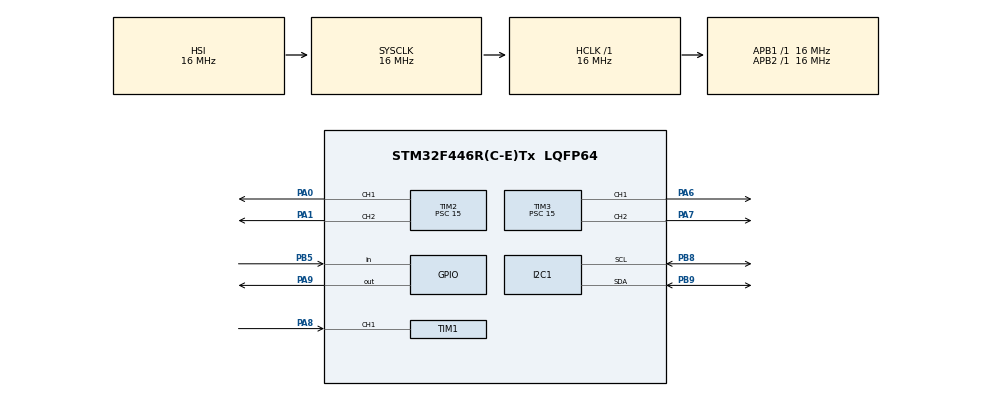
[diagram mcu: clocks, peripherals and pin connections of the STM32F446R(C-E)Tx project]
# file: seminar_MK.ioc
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I2C1.I2C_Mode=I2C_Fast
Mcu.Family=STM32F4
Mcu.Name=STM32F446R(C-E)Tx
Mcu.Package=LQFP64
NVIC.PriorityGroup=NVIC_PRIORITYGROUP_4
NVIC.TIM1_CC_IRQn=true\:0\:0\:false\:false\:true\:true\:true\:true
PA0-WKUP.Signal=S_TIM2_CH1_ETR
PA1.Signal=S_TIM2_CH2
PA13.Mode=Serial_Wire
PA13.Signal=SYS_JTMS-SWDIO
PA14.Mode=Serial_Wire
PA14.Signal=SYS_JTCK-SWCLK
PA6.Signal=S_TIM3_CH1
PA7.Signal=S_TIM3_CH2
PA8.Signal=S_TIM1_CH1
PA9.Signal=GPIO_Output
PB5.Signal=GPIO_Input
PB8.Mode=I2C
PB8.Signal=I2C1_SCL
PB9.Mode=I2C
PB9.Signal=I2C1_SDA
PH0-OSC_IN.Mode=HSE-External-Oscillator
PH0-OSC_IN.Signal=RCC_OSC_IN
PH1-OSC_OUT.Mode=HSE-External-Oscillator
PH1-OSC_OUT.Signal=RCC_OSC_OUT
ProjectManager.HeapSize=0x200
ProjectManager.StackSize=0x400
ProjectManager.TargetToolchain=STM32CubeIDE
RCC.AHBFreq_Value=16000000
RCC.APB1Freq_Value=16000000
RCC.APB1TimFreq_Value=16000000
RCC.APB2Freq_Value=16000000
RCC.APB2TimFreq_Value=16000000
RCC.CortexFreq_Value=16000000
RCC.HCLKFreq_Value=16000000
RCC.SYSCLKFreq_VALUE=16000000
RCC.USBFreq_Value=96000000
RCC.VCOOutputFreq_Value=192000000
SH.S_TIM1_CH1.0=TIM1_CH1,Input_Capture1_from_TI1
SH.S_TIM2_CH1_ETR.0=TIM2_CH1,PWM Generation1 CH1
SH.S_TIM2_CH2.0=TIM2_CH2,PWM Generation2 CH2
SH.S_TIM3_CH1.0=TIM3_CH1,PWM Generation1 CH1
SH.S_TIM3_CH2.0=TIM3_CH2,PWM Generation2 CH2
TIM1.Channel-Input_Capture1_from_TI1=TIM_CHANNEL_1
TIM1.Period=65534
TIM1.Prescaler=15
TIM2.Channel-PWM\ Generation1\ CH1=TIM_CHANNEL_1
TIM2.Channel-PWM\ Generation2\ CH2=TIM_CHANNEL_2
TIM2.Period=99
TIM2.Prescaler=15
TIM2.Pulse-PWM\ Generation2\ CH2=100
TIM3.Channel-PWM\ Generation1\ CH1=TIM_CHANNEL_1
TIM3.Channel-PWM\ Generation2\ CH2=TIM_CHANNEL_2
TIM3.Period=99
TIM3.Prescaler=15
TIM3.Pulse-PWM\ Generation2\ CH2=100
board=custom

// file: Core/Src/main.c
/* USER CODE BEGIN Header */
/**
  ******************************************************************************
  * @file           : main.c
  * @brief          : Main program body
  ******************************************************************************
  * @attention
  *
  * Copyright (c) 2025 STMicroelectronics.
  * All rights reserved.
  *
  * This software is licensed under terms that can be found in the LICENSE file
  * in the root directory of this software component.
  * If no LICENSE file comes with this software, it is provided AS-IS.
  *
  ******************************************************************************
  */
/* USER CODE END Header */
#include "main.h"
#include "i2c.h"
#include "tim.h"
#include "gpio.h"

/* USER CODE BEGIN Includes */

uint32_t IC_Vrijednost1 = 0;
uint32_t IC_Vrijednost2 = 0;
uint32_t Razlika = 0;
uint8_t Zabiljezeno = 0;
uint8_t Udaljenost  = 0;

char Udaljenost_ch[5];

const uint16_t Font11x18 [] = {
	0x0000, 0x0000, 0x0000, 0x0000, 0x0000, 0x0000, 0x0000, 0x0000, 0x0000, 0x0000, 0x0000, 0x0000, 0x0000, 0x0000, 0x0000, 0x0000, 0x0000, 0x0000,   // razmak
	0x0000, 0x0C00, 0x0C00, 0x0C00, 0x0C00, 0x0C00, 0x0C00, 0x0C00, 0x0C00, 0x0C00, 0x0C00, 0x0C00, 0x0000, 0x0C00, 0x0C00, 0x0000, 0x0000, 0x0000,   // !
	0x0000, 0x1B00, 0x1B00, 0x1B00, 0x1B00, 0x1B00, 0x0000, 0x0000, 0x0000, 0x0000, 0x0000, 0x0000, 0x0000, 0x0000, 0x0000, 0x0000, 0x0000, 0x0000,   // "
	0x0000, 0x1980, 0x1980, 0x1980, 0x1980, 0x7FC0, 0x7FC0, 0x1980, 0x3300, 0x7FC0, 0x7FC0, 0x3300, 0x3300, 0x3300, 0x3300, 0x0000, 0x0000, 0x0000,   // #
	0x0000, 0x1E00, 0x3F00, 0x7580, 0x6580, 0x7400, 0x3C00, 0x1E00, 0x0700, 0x0580, 0x6580, 0x6580, 0x7580, 0x3F00, 0x1E00, 0x0400, 0x0400, 0x0000,   // $
	0x0000, 0x7000, 0xD800, 0xD840, 0xD8C0, 0xD980, 0x7300, 0x0600, 0x0C00, 0x1B80, 0x36C0, 0x66C0, 0x46C0, 0x06C0, 0x0380, 0x0000, 0x0000, 0x0000,   // %
	0x0000, 0x1E00, 0x3F00, 0x3300, 0x3300, 0x3300, 0x1E00, 0x0C00, 0x3CC0, 0x66C0, 0x6380, 0x6180, 0x6380, 0x3EC0, 0x1C80, 0x0000, 0x0000, 0x0000,   // &
	0x0000, 0x0C00, 0x0C00, 0x0C00, 0x0C00, 0x0C00, 0x0000, 0x0000, 0x0000, 0x0000, 0x0000, 0x0000, 0x0000, 0x0000, 0x0000, 0x0000, 0x0000, 0x0000,   // '
	0x0080, 0x0100, 0x0300, 0x0600, 0x0600, 0x0400, 0x0C00, 0x0C00, 0x0C00, 0x0C00, 0x0C00, 0x0C00, 0x0400, 0x0600, 0x0600, 0x0300, 0x0100, 0x0080,   // (
	0x2000, 0x1000, 0x1800, 0x0C00, 0x0C00, 0x0400, 0x0600, 0x0600, 0x0600, 0x0600, 0x0600, 0x0600, 0x0400, 0x0C00, 0x0C00, 0x1800, 0x1000, 0x2000,   // )
	0x0000, 0x0C00, 0x2D00, 0x3F00, 0x1E00, 0x3300, 0x0000, 0x0000, 0x0000, 0x0000, 0x0000, 0x0000, 0x0000, 0x0000, 0x0000, 0x0000, 0x0000, 0x0000,   // *
	0x0000, 0x0000, 0x0000, 0x0C00, 0x0C00, 0x0C00, 0x0C00, 0xFFC0, 0xFFC0, 0x0C00, 0x0C00, 0x0C00, 0x0C00, 0x0000, 0x0000, 0x0000, 0x0000, 0x0000,   // +
	0x0000, 0x0000, 0x0000, 0x0000, 0x0000, 0x0000, 0x0000, 0x0000, 0x0000, 0x0000, 0x0000, 0x0000, 0x0000, 0x0C00, 0x0C00, 0x0400, 0x0400, 0x0800,   // ,
	0x0000, 0x0000, 0x0000, 0x0000, 0x0000, 0x0000, 0x0000, 0x0000, 0x0000, 0x1E00, 0x1E00, 0x0000, 0x0000, 0x0000, 0x0000, 0x0000, 0x0000, 0x0000,   // -
	0x0000, 0x0000, 0x0000, 0x0000, 0x0000, 0x0000, 0x0000, 0x0000, 0x0000, 0x0000, 0x0000, 0x0000, 0x0000, 0x0C00, 0x0C00, 0x0000, 0x0000, 0x0000,   // .
	0x0000, 0x0300, 0x0300, 0x0300, 0x0600, 0x0600, 0x0600, 0x0600, 0x0C00, 0x0C00, 0x0C00, 0x0C00, 0x1800, 0x1800, 0x1800, 0x0000, 0x0000, 0x0000,   // /
	0x0000, 0x1E00, 0x3F00, 0x3300, 0x6180, 0x6180, 0x6180, 0x6D80, 0x6D80, 0x6180, 0x6180, 0x6180, 0x3300, 0x3F00, 0x1E00, 0x0000, 0x0000, 0x0000,   // 0
	0x0000, 0x0600, 0x0E00, 0x1E00, 0x3600, 0x2600, 0x0600, 0x0600, 0x0600, 0x0600, 0x0600, 0x0600, 0x0600, 0x0600, 0x0600, 0x0000, 0x0000, 0x0000,   // 1
	0x0000, 0x1E00, 0x3F00, 0x7380, 0x6180, 0x6180, 0x0180, 0x0300, 0x0600, 0x0C00, 0x1800, 0x3000, 0x6000, 0x7F80, 0x7F80, 0x0000, 0x0000, 0x0000,   // 2
	0x0000, 0x1C00, 0x3E00, 0x6300, 0x6300, 0x0300, 0x0E00, 0x0E00, 0x0300, 0x0180, 0x0180, 0x6180, 0x7380, 0x3F00, 0x1E00, 0x0000, 0x0000, 0x0000,   // 3
	0x0000, 0x0600, 0x0E00, 0x0E00, 0x1E00, 0x1E00, 0x1600, 0x3600, 0x3600, 0x6600, 0x7F80, 0x7F80, 0x0600, 0x0600, 0x0600, 0x0000, 0x0000, 0x0000,   // 4
	0x0000, 0x7F00, 0x7F00, 0x6000, 0x6000, 0x6000, 0x6E00, 0x7F00, 0x6380, 0x0180, 0x0180, 0x6180, 0x7380, 0x3F00, 0x1E00, 0x0000, 0x0000, 0x0000,   // 5
	0x0000, 0x1E00, 0x3F00, 0x3380, 0x6180, 0x6000, 0x6E00, 0x7F00, 0x7380, 0x6180, 0x6180, 0x6180, 0x3380, 0x3F00, 0x1E00, 0x0000, 0x0000, 0x0000,   // 6
	0x0000, 0x7F80, 0x7F80, 0x0180, 0x0300, 0x0300, 0x0600, 0x0600, 0x0C00, 0x0C00, 0x0C00, 0x0800, 0x1800, 0x1800, 0x1800, 0x0000, 0x0000, 0x0000,   // 7
	0x0000, 0x1E00, 0x3F00, 0x6380, 0x6180, 0x6180, 0x2100, 0x1E00, 0x3F00, 0x6180, 0x6180, 0x6180, 0x6180, 0x3F00, 0x1E00, 0x0000, 0x0000, 0x0000,   // 8
	0x0000, 0x1E00, 0x3F00, 0x7300, 0x6180, 0x6180, 0x6180, 0x7380, 0x3F80, 0x1D80, 0x0180, 0x6180, 0x7300, 0x3F00, 0x1E00, 0x0000, 0x0000, 0x0000,   // 9
	0x0000, 0x0000, 0x0000, 0x0000, 0x0000, 0x0C00, 0x0C00, 0x0000, 0x0000, 0x0000, 0x0000, 0x0000, 0x0000, 0x0C00, 0x0C00, 0x0000, 0x0000, 0x0000,   // :
	0x0000, 0x0000, 0x0000, 0x0000, 0x0000, 0x0000, 0x0C00, 0x0C00, 0x0000, 0x0000, 0x0000, 0x0000, 0x0000, 0x0C00, 0x0C00, 0x0400, 0x0400, 0x0800,   // ;
	0x0000, 0x0000, 0x0000, 0x0000, 0x0080, 0x0380, 0x0E00, 0x3800, 0x6000, 0x3800, 0x0E00, 0x0380, 0x0080, 0x0000, 0x0000, 0x0000, 0x0000, 0x0000,   // <
	0x0000, 0x0000, 0x0000, 0x0000, 0x0000, 0x7F80, 0x7F80, 0x0000, 0x0000, 0x7F80, 0x7F80, 0x0000, 0x0000, 0x0000, 0x0000, 0x0000, 0x0000, 0x0000,   // =
	0x0000, 0x0000, 0x0000, 0x0000, 0x4000, 0x7000, 0x1C00, 0x0700, 0x0180, 0x0700, 0x1C00, 0x7000, 0x4000, 0x0000, 0x0000, 0x0000, 0x0000, 0x0000,   // >
	0x0000, 0x1F00, 0x3F80, 0x71C0, 0x60C0, 0x00C0, 0x01C0, 0x0380, 0x0700, 0x0E00, 0x0C00, 0x0C00, 0x0000, 0x0C00, 0x0C00, 0x0000, 0x0000, 0x0000,   // ?
	0x0000, 0x1E00, 0x3F00, 0x3180, 0x7180, 0x6380, 0x6F80, 0x6D80, 0x6D80, 0x6F80, 0x6780, 0x6000, 0x3200, 0x3E00, 0x1C00, 0x0000, 0x0000, 0x0000,   // @
	0x0000, 0x0E00, 0x0E00, 0x1B00, 0x1B00, 0x1B00, 0x1B00, 0x3180, 0x3180, 0x3F80, 0x3F80, 0x3180, 0x60C0, 0x60C0, 0x60C0, 0x0000, 0x0000, 0x0000,   // A
	0x0000, 0x7C00, 0x7E00, 0x6300, 0x6300, 0x6300, 0x6300, 0x7E00, 0x7E00, 0x6300, 0x6180, 0x6180, 0x6380, 0x7F00, 0x7E00, 0x0000, 0x0000, 0x0000,   // B
	0x0000, 0x1E00, 0x3F00, 0x3180, 0x6180, 0x6000, 0x6000, 0x6000, 0x6000, 0x6000, 0x6000, 0x6180, 0x3180, 0x3F00, 0x1E00, 0x0000, 0x0000, 0x0000,   // C
	0x0000, 0x7C00, 0x7F00, 0x6300, 0x6380, 0x6180, 0x6180, 0x6180, 0x6180, 0x6180, 0x6180, 0x6300, 0x6300, 0x7E00, 0x7C00, 0x0000, 0x0000, 0x0000,   // D
	0x0000, 0x7F80, 0x7F80, 0x6000, 0x6000, 0x6000, 0x6000, 0x7F00, 0x7F00, 0x6000, 0x6000, 0x6000, 0x6000, 0x7F80, 0x7F80, 0x0000, 0x0000, 0x0000,   // E
	0x0000, 0x7F80, 0x7F80, 0x6000, 0x6000, 0x6000, 0x6000, 0x7F00, 0x7F00, 0x6000, 0x6000, 0x6000, 0x6000, 0x6000, 0x6000, 0x0000, 0x0000, 0x0000,   // F
	0x0000, 0x1E00, 0x3F00, 0x3180, 0x6180, 0x6000, 0x6000, 0x6000, 0x6380, 0x6380, 0x6180, 0x6180, 0x3180, 0x3F80, 0x1E00, 0x0000, 0x0000, 0x0000,   // G
	0x0000, 0x6180, 0x6180, 0x6180, 0x6180, 0x6180, 0x6180, 0x7F80, 0x7F80, 0x6180, 0x6180, 0x6180, 0x6180, 0x6180, 0x6180, 0x0000, 0x0000, 0x0000,   // H
	0x0000, 0x3F00, 0x3F00, 0x0C00, 0x0C00, 0x0C00, 0x0C00, 0x0C00, 0x0C00, 0x0C00, 0x0C00, 0x0C00, 0x0C00, 0x3F00, 0x3F00, 0x0000, 0x0000, 0x0000,   // I
	0x0000, 0x0180, 0x0180, 0x0180, 0x0180, 0x0180, 0x0180, 0x0180, 0x0180, 0x0180, 0x6180, 0x6180, 0x7380, 0x3F00, 0x1E00, 0x0000, 0x0000, 0x0000,   // J
	0x0000, 0x60C0, 0x6180, 0x6300, 0x6600, 0x6600, 0x6C00, 0x7800, 0x7C00, 0x6600, 0x6600, 0x6300, 0x6180, 0x6180, 0x60C0, 0x0000, 0x0000, 0x0000,   // K
	0x0000, 0x6000, 0x6000, 0x6000, 0x6000, 0x6000, 0x6000, 0x6000, 0x6000, 0x6000, 0x6000, 0x6000, 0x6000, 0x7F80, 0x7F80, 0x0000, 0x0000, 0x0000,   // L
	0x0000, 0x71C0, 0x71C0, 0x7BC0, 0x7AC0, 0x6AC0, 0x6AC0, 0x6EC0, 0x64C0, 0x60C0, 0x60C0, 0x60C0, 0x60C0, 0x60C0, 0x60C0, 0x0000, 0x0000, 0x0000,   // M
	0x0000, 0x7180, 0x7180, 0x7980, 0x7980, 0x7980, 0x6D80, 0x6D80, 0x6D80, 0x6580, 0x6780, 0x6780, 0x6780, 0x6380, 0x6380, 0x0000, 0x0000, 0x0000,   // N
	0x0000, 0x1E00, 0x3F00, 0x3300, 0x6180, 0x6180, 0x6180, 0x6180, 0x6180, 0x6180, 0x6180, 0x6180, 0x3300, 0x3F00, 0x1E00, 0x0000, 0x0000, 0x0000,   // O
	0x0000, 0x7E00, 0x7F00, 0x6380, 0x6180, 0x6180, 0x6180, 0x6380, 0x7F00, 0x7E00, 0x6000, 0x6000, 0x6000, 0x6000, 0x6000, 0x0000, 0x0000, 0x0000,   // P
	0x0000, 0x1E00, 0x3F00, 0x3300, 0x6180, 0x6180, 0x6180, 0x6180, 0x6180, 0x6180, 0x6580, 0x6780, 0x3300, 0x3F80, 0x1E40, 0x0000, 0x0000, 0x0000,   // Q
	0x0000, 0x7E00, 0x7F00, 0x6380, 0x6180, 0x6180, 0x6380, 0x7F00, 0x7E00, 0x6600, 0x6300, 0x6300, 0x6180, 0x6180, 0x60C0, 0x0000, 0x0000, 0x0000,   // R
	0x0000, 0x0E00, 0x1F00, 0x3180, 0x3180, 0x3000, 0x3800, 0x1E00, 0x0700, 0x0380, 0x6180, 0x6180, 0x3180, 0x3F00, 0x1E00, 0x0000, 0x0000, 0x0000,   // S
	0x0000, 0xFFC0, 0xFFC0, 0x0C00, 0x0C00, 0x0C00, 0x0C00, 0x0C00, 0x0C00, 0x0C00, 0x0C00, 0x0C00, 0x0C00, 0x0C00, 0x0C00, 0x0000, 0x0000, 0x0000,   // T
	0x0000, 0x6180, 0x6180, 0x6180, 0x6180, 0x6180, 0x6180, 0x6180, 0x6180, 0x6180, 0x6180, 0x6180, 0x7380, 0x3F00, 0x1E00, 0x0000, 0x0000, 0x0000,   // U
	0x0000, 0x60C0, 0x60C0, 0x60C0, 0x3180, 0x3180, 0x3180, 0x1B00, 0x1B00, 0x1B00, 0x1B00, 0x0E00, 0x0E00, 0x0E00, 0x0400, 0x0000, 0x0000, 0x0000,   // V
	0x0000, 0xC0C0, 0xC0C0, 0xC0C0, 0xC0C0, 0xC0C0, 0xCCC0, 0x4C80, 0x4C80, 0x5E80, 0x5280, 0x5280, 0x7380, 0x6180, 0x6180, 0x0000, 0x0000, 0x0000,   // W
	0x0000, 0xC0C0, 0x6080, 0x6180, 0x3300, 0x3B00, 0x1E00, 0x0C00, 0x0C00, 0x1E00, 0x1F00, 0x3B00, 0x7180, 0x6180, 0xC0C0, 0x0000, 0x0000, 0x0000,   // X
	0x0000, 0xC0C0, 0x6180, 0x6180, 0x3300, 0x3300, 0x1E00, 0x1E00, 0x0C00, 0x0C00, 0x0C00, 0x0C00, 0x0C00, 0x0C00, 0x0C00, 0x0000, 0x0000, 0x0000,   // Y
	0x0000, 0x3F80, 0x3F80, 0x0180, 0x0300, 0x0300, 0x0600, 0x0C00, 0x0C00, 0x1800, 0x1800, 0x3000, 0x6000, 0x7F80, 0x7F80, 0x0000, 0x0000, 0x0000,   // Z
	0x0F00, 0x0F00, 0x0C00, 0x0C00, 0x0C00, 0x0C00, 0x0C00, 0x0C00, 0x0C00, 0x0C00, 0x0C00, 0x0C00, 0x0C00, 0x0C00, 0x0C00, 0x0C00, 0x0F00, 0x0F00,   // [
	0x0000, 0x1800, 0x1800, 0x1800, 0x0C00, 0x0C00, 0x0C00, 0x0C00, 0x0600, 0x0600, 0x0600, 0x0600, 0x0300, 0x0300, 0x0300, 0x0000, 0x0000, 0x0000,   /* \ */
	0x1E00, 0x1E00, 0x0600, 0x0600, 0x0600, 0x0600, 0x0600, 0x0600, 0x0600, 0x0600, 0x0600, 0x0600, 0x0600, 0x0600, 0x0600, 0x0600, 0x1E00, 0x1E00,   // ]
	0x0000, 0x0C00, 0x0C00, 0x1E00, 0x1200, 0x3300, 0x3300, 0x6180, 0x6180, 0x0000, 0x0000, 0x0000, 0x0000, 0x0000, 0x0000, 0x0000, 0x0000, 0x0000,   // ^
	0x0000, 0x0000, 0x0000, 0x0000, 0x0000, 0x0000, 0x0000, 0x0000, 0x0000, 0x0000, 0x0000, 0x0000, 0x0000, 0x0000, 0x0000, 0x0000, 0xFFE0, 0x0000,   // _
	0x0000, 0x3800, 0x1800, 0x0C00, 0x0000, 0x0000, 0x0000, 0x0000, 0x0000, 0x0000, 0x0000, 0x0000, 0x0000, 0x0000, 0x0000, 0x0000, 0x0000, 0x0000,   // `
	0x0000, 0x0000, 0x0000, 0x0000, 0x0000, 0x1F00, 0x3F80, 0x6180, 0x0180, 0x1F80, 0x3F80, 0x6180, 0x6380, 0x7F80, 0x38C0, 0x0000, 0x0000, 0x0000,   // a
	0x0000, 0x6000, 0x6000, 0x6000, 0x6000, 0x6E00, 0x7F00, 0x7380, 0x6180, 0x6180, 0x6180, 0x6180, 0x7380, 0x7F00, 0x6E00, 0x0000, 0x0000, 0x0000,   // b
	0x0000, 0x0000, 0x0000, 0x0000, 0x0000, 0x1E00, 0x3F00, 0x7380, 0x6180, 0x6000, 0x6000, 0x6180, 0x7380, 0x3F00, 0x1E00, 0x0000, 0x0000, 0x0000,   // c
	0x0000, 0x0180, 0x0180, 0x0180, 0x0180, 0x1D80, 0x3F80, 0x7380, 0x6180, 0x6180, 0x6180, 0x6180, 0x7380, 0x3F80, 0x1D80, 0x0000, 0x0000, 0x0000,   // d
	0x0000, 0x0000, 0x0000, 0x0000, 0x0000, 0x1E00, 0x3F00, 0x7300, 0x6180, 0x7F80, 0x7F80, 0x6000, 0x7180, 0x3F00, 0x1E00, 0x0000, 0x0000, 0x0000,   // e
	0x0000, 0x07C0, 0x0FC0, 0x0C00, 0x0C00, 0x7F80, 0x7F80, 0x0C00, 0x0C00, 0x0C00, 0x0C00, 0x0C00, 0x0C00, 0x0C00, 0x0C00, 0x0000, 0x0000, 0x0000,   // f
	0x0000, 0x0000, 0x0000, 0x0000, 0x1D80, 0x3F80, 0x7380, 0x6180, 0x6180, 0x6180, 0x6180, 0x7380, 0x3F80, 0x1D80, 0x0180, 0x6380, 0x7F00, 0x3E00,   // g
	0x0000, 0x6000, 0x6000, 0x6000, 0x6000, 0x6F00, 0x7F80, 0x7180, 0x6180, 0x6180, 0x6180, 0x6180, 0x6180, 0x6180, 0x6180, 0x0000, 0x0000, 0x0000,   // h
	0x0000, 0x0600, 0x0600, 0x0000, 0x0000, 0x3E00, 0x3E00, 0x0600, 0x0600, 0x0600, 0x0600, 0x0600, 0x0600, 0x0600, 0x0600, 0x0000, 0x0000, 0x0000,   // i
	0x0600, 0x0600, 0x0000, 0x0000, 0x3E00, 0x3E00, 0x0600, 0x0600, 0x0600, 0x0600, 0x0600, 0x0600, 0x0600, 0x0600, 0x0600, 0x4600, 0x7E00, 0x3C00,   // j
	0x0000, 0x6000, 0x6000, 0x6000, 0x6000, 0x6180, 0x6300, 0x6600, 0x6C00, 0x7C00, 0x7600, 0x6300, 0x6300, 0x6180, 0x60C0, 0x0000, 0x0000, 0x0000,   // k
	0x0000, 0x3E00, 0x3E00, 0x0600, 0x0600, 0x0600, 0x0600, 0x0600, 0x0600, 0x0600, 0x0600, 0x0600, 0x0600, 0x0600, 0x0600, 0x0000, 0x0000, 0x0000,   // l
	0x0000, 0x0000, 0x0000, 0x0000, 0x0000, 0xDD80, 0xFFC0, 0xCEC0, 0xCCC0, 0xCCC0, 0xCCC0, 0xCCC0, 0xCCC0, 0xCCC0, 0xCCC0, 0x0000, 0x0000, 0x0000,   // m
	0x0000, 0x0000, 0x0000, 0x0000, 0x0000, 0x6F00, 0x7F80, 0x7180, 0x6180, 0x6180, 0x6180, 0x6180, 0x6180, 0x6180, 0x6180, 0x0000, 0x0000, 0x0000,   // n
	0x0000, 0x0000, 0x0000, 0x0000, 0x0000, 0x1E00, 0x3F00, 0x7380, 0x6180, 0x6180, 0x6180, 0x6180, 0x7380, 0x3F00, 0x1E00, 0x0000, 0x0000, 0x0000,   // o
	0x0000, 0x0000, 0x0000, 0x0000, 0x6E00, 0x7F00, 0x7380, 0x6180, 0x6180, 0x6180, 0x6180, 0x7380, 0x7F00, 0x6E00, 0x6000, 0x6000, 0x6000, 0x6000,   // p
	0x0000, 0x0000, 0x0000, 0x0000, 0x1D80, 0x3F80, 0x7380, 0x6180, 0x6180, 0x6180, 0x6180, 0x7380, 0x3F80, 0x1D80, 0x0180, 0x0180, 0x0180, 0x0180,   // q
	0x0000, 0x0000, 0x0000, 0x0000, 0x0000, 0x6700, 0x3F80, 0x3900, 0x3000, 0x3000, 0x3000, 0x3000, 0x3000, 0x3000, 0x3000, 0x0000, 0x0000, 0x0000,   // r
	0x0000, 0x0000, 0x0000, 0x0000, 0x0000, 0x1E00, 0x3F80, 0x6180, 0x6000, 0x7F00, 0x3F80, 0x0180, 0x6180, 0x7F00, 0x1E00, 0x0000, 0x0000, 0x0000,   // s
	0x0000, 0x0000, 0x0800, 0x1800, 0x1800, 0x7F00, 0x7F00, 0x1800, 0x1800, 0x1800, 0x1800, 0x1800, 0x1800, 0x1F80, 0x0F80, 0x0000, 0x0000, 0x0000,   // t
	0x0000, 0x0000, 0x0000, 0x0000, 0x0000, 0x6180, 0x6180, 0x6180, 0x6180, 0x6180, 0x6180, 0x6180, 0x6380, 0x7F80, 0x3D80, 0x0000, 0x0000, 0x0000,   // u
	0x0000, 0x0000, 0x0000, 0x0000, 0x0000, 0x60C0, 0x3180, 0x3180, 0x3180, 0x1B00, 0x1B00, 0x1B00, 0x0E00, 0x0E00, 0x0600, 0x0000, 0x0000, 0x0000,   // v
	0x0000, 0x0000, 0x0000, 0x0000, 0x0000, 0xDD80, 0xDD80, 0xDD80, 0x5500, 0x5500, 0x5500, 0x7700, 0x7700, 0x2200, 0x2200, 0x0000, 0x0000, 0x0000,   // w
	0x0000, 0x0000, 0x0000, 0x0000, 0x0000, 0x6180, 0x3300, 0x3300, 0x1E00, 0x0C00, 0x0C00, 0x1E00, 0x3300, 0x3300, 0x6180, 0x0000, 0x0000, 0x0000,   // x
	0x0000, 0x0000, 0x0000, 0x0000, 0x6180, 0x6180, 0x3180, 0x3300, 0x3300, 0x1B00, 0x1B00, 0x1B00, 0x0E00, 0x0E00, 0x0E00, 0x1C00, 0x7C00, 0x7000,   // y
	0x0000, 0x0000, 0x0000, 0x0000, 0x0000, 0x7FC0, 0x7FC0, 0x0180, 0x0300, 0x0600, 0x0C00, 0x1800, 0x3000, 0x7FC0, 0x7FC0, 0x0000, 0x0000, 0x0000,   // z
	0x0380, 0x0780, 0x0600, 0x0600, 0x0600, 0x0600, 0x0600, 0x0E00, 0x1C00, 0x1C00, 0x0E00, 0x0600, 0x0600, 0x0600, 0x0600, 0x0600, 0x0780, 0x0380,   // {
	0x0600, 0x0600, 0x0600, 0x0600, 0x0600, 0x0600, 0x0600, 0x0600, 0x0600, 0x0600, 0x0600, 0x0600, 0x0600, 0x0600, 0x0600, 0x0600, 0x0600, 0x0600,   // |
	0x3800, 0x3C00, 0x0C00, 0x0C00, 0x0C00, 0x0C00, 0x0C00, 0x0E00, 0x0700, 0x0700, 0x0E00, 0x0C00, 0x0C00, 0x0C00, 0x0C00, 0x0C00, 0x3C00, 0x3800,   // }
	0x0000, 0x0000, 0x0000, 0x0000, 0x0000, 0x0000, 0x0000, 0x3880, 0x7F80, 0x4700, 0x0000, 0x0000, 0x0000, 0x0000, 0x0000, 0x0000, 0x0000, 0x0000,   // ~
};

typedef struct {
	uint8_t Font_W;    // Širina fonta
	uint8_t Font_H;   // Visina fonta
	const uint16_t *data; // Pointer data
} FontDef_t;

FontDef_t Font_11x18 = {
	11,
	18,
	Font11x18
};

typedef enum {
	OLED_CRNA = 0x00, // Crni piksel
	OLED_BIJELA = 0x01  // Piksel je postavljen
} OLED_BOJA_t;

#define OLED_W 128
#define OLED_H 64

static uint8_t OLED_Buffer[OLED_W * OLED_H / 8];

typedef struct {
	uint16_t X;
	uint16_t Y;
	uint8_t Obrnuto;
	uint8_t Inicijalizirano;
} OLED_t;

static OLED_t OLED;

#define OLED_I2C_ADDR 0x78
#define OLED_I2C &hi2c1
#define OLED_DEAKTIVIRAJ_SCROLL 0x2E
#define OLED_WRITECOMMAND(command) OLED_I2C_Ispis(OLED_I2C_ADDR, 0x00, (command))

void OLED_I2C_Init() {
	uint32_t p = 250000;
	while(p>0)
		p--;
}

void OLED_I2C_Ispis(uint8_t address, uint8_t reg, uint8_t data) {
	uint8_t dt[2];
	dt[0] = reg;
	dt[1] = data;
	HAL_I2C_Master_Transmit(OLED_I2C, address, dt, 2, 10);
}

void OLED_I2C_IspisVisestruko(uint8_t address, uint8_t reg, uint8_t* data, uint16_t count) {
	uint8_t dt[256];
	dt[0] = reg;
	uint8_t i;
	for(i = 0; i < count; i++)
	dt[i+1] = data[i];
	HAL_I2C_Master_Transmit(OLED_I2C, address, dt, count+1, 10);
}

void OLED_AzurirajZaslon(void) {
	uint8_t m;

	for (m = 0; m < 8; m++) {
		OLED_WRITECOMMAND(0xB0 + m);
		OLED_WRITECOMMAND(0x00);
		OLED_WRITECOMMAND(0x10);

		OLED_I2C_IspisVisestruko(OLED_I2C_ADDR, 0x40, &OLED_Buffer[OLED_W * m], OLED_W);
	}
}

void OLED_Popuni(OLED_BOJA_t color) {

	/* posatvi memoriju */
	memset(OLED_Buffer, (color == OLED_CRNA) ? 0x00 : 0xFF, sizeof(OLED_Buffer));
}

	/* inicijalizacija OLED */

uint8_t OLED_Init(void) {

	OLED_I2C_Init();

	if (HAL_I2C_IsDeviceReady(OLED_I2C, OLED_I2C_ADDR, 1, 20000) != HAL_OK) {
		return 0;
	}

	uint32_t p = 2500;
	while(p>0)
		p--;

	OLED_WRITECOMMAND(0xAE);
	OLED_WRITECOMMAND(0x20);
	OLED_WRITECOMMAND(0x10);
	OLED_WRITECOMMAND(0xB0);
	OLED_WRITECOMMAND(0xC8);
	OLED_WRITECOMMAND(0x00);
	OLED_WRITECOMMAND(0x10);
	OLED_WRITECOMMAND(0x40);
	OLED_WRITECOMMAND(0x81);
	OLED_WRITECOMMAND(0xFF);
	OLED_WRITECOMMAND(0xA1);
	OLED_WRITECOMMAND(0xA6);
#if (OLED_H == 128)
	OLED_WRITECOMMAND(0xFF);
#else
	OLED_WRITECOMMAND(0xA8);
#endif

#if (OLED_H == 32)
	OLED_WRITECOMMAND(0x1F);
#elif (OLED_H == 64)
	OLED_WRITECOMMAND(0x3F);
#elif (OLED_H == 128)
	OLED_WRITECOMMAND(0x3F);
#endif
	OLED_WRITECOMMAND(0xA4);
	OLED_WRITECOMMAND(0xD3);
	OLED_WRITECOMMAND(0x00);
	OLED_WRITECOMMAND(0xD5);
	OLED_WRITECOMMAND(0xF0);
	OLED_WRITECOMMAND(0xD9);
	OLED_WRITECOMMAND(0x22);

	OLED_WRITECOMMAND(0xDA);
#if (OLED_H == 32)
	OLED_WRITECOMMAND(0x02);
#elif (OLED_H == 64)
	OLED_WRITECOMMAND(0x12);
#elif (OLED_H == 128)
	OLED_WRITECOMMAND(0x12);
#endif

	OLED_WRITECOMMAND(0xDB);
	OLED_WRITECOMMAND(0x20);
	OLED_WRITECOMMAND(0x8D);
	OLED_WRITECOMMAND(0x14);
	OLED_WRITECOMMAND(0xAF);

	OLED_WRITECOMMAND(OLED_DEAKTIVIRAJ_SCROLL);

	/* Čisti ekran (crna) */
	OLED_Popuni(OLED_CRNA);

	/* Osvježi ekran */
	OLED_AzurirajZaslon();

	/* Kordinate na (0, 0) */
	OLED.X = 0;
	OLED.Y = 0;

	/* Inicijalizacija je OK */
	OLED.Inicijalizirano = 1;

	/* Vrati OK */
	return 1;
}

	/* postavljanje koordinati */

void OLED_XY(uint16_t x, uint16_t y) {
	OLED.X = x;
	OLED.Y = y;
}

void OLED_Piksel(uint16_t x, uint16_t y, OLED_BOJA_t color) {
	if (
		x >= OLED_W ||
		y >= OLED_H
	) {
		return;
	}

	if (OLED.Obrnuto) {
		color = (OLED_BOJA_t) !color;
	}

	/* Postavi boju*/
	if (color == OLED_BIJELA) {
		OLED_Buffer[x + (y / 8) * OLED_W] |= 1 << (y % 8);
	} else {
		OLED_Buffer[x + (y / 8) * OLED_W] &= ~(1 << (y % 8));
	}
}

char OLED_Character(char ch, FontDef_t* Font, OLED_BOJA_t color) {
	uint32_t i, b, j;

	/* Provjeri ima li mjesta na OLED-u */
	if (
		OLED_W <= (OLED.X + Font->Font_W) ||
		OLED_H <= (OLED.Y + Font->Font_H)
	) {
		return 0;
	}

	for (i = 0; i < Font->Font_H; i++) {
			b = Font->data[(ch - 32) * Font->Font_H + i];
			for (j = 0; j < Font->Font_W; j++) {
				if ((b << j) & 0x8000) {
					OLED_Piksel(OLED.X + j, (OLED.Y + i), (OLED_BOJA_t) color);
				} else {
					OLED_Piksel(OLED.X + j, (OLED.Y + i), (OLED_BOJA_t)!color);
				}
			}
		}

	/* Povećaj pointer */
	OLED.X += Font->Font_W;

	/* Vraća charachter koji je napisan */
	return ch;
}

	/* ispis na OLED */
char OLED_String(char* str, FontDef_t* Font, OLED_BOJA_t color) {

	while (*str) {
		if (OLED_Character(*str, Font, color) != *str) {
			return *str;
		}

		str++;
	}

	return *str;
}

/* USER CODE END Includes */

void SystemClock_Config(void);

/* USER CODE BEGIN 0 */
void HAL_TIM_IC_CaptureCallback(TIM_HandleTypeDef *htim)
{
	if (htim->Channel == HAL_TIM_ACTIVE_CHANNEL_1)
	{
		if (Zabiljezeno==0)
		{
			IC_Vrijednost1 = HAL_TIM_ReadCapturedValue(htim, TIM_CHANNEL_1);
			Zabiljezeno = 1;

			__HAL_TIM_SET_CAPTUREPOLARITY(htim, TIM_CHANNEL_1, TIM_INPUTCHANNELPOLARITY_FALLING);
		}

		else if (Zabiljezeno==1)
		{
			IC_Vrijednost2 = HAL_TIM_ReadCapturedValue(htim, TIM_CHANNEL_1);
			__HAL_TIM_SET_COUNTER(htim, 0);

			if (IC_Vrijednost2 > IC_Vrijednost1)
			{
				Razlika = IC_Vrijednost2-IC_Vrijednost1;
			}

			else if (IC_Vrijednost1 > IC_Vrijednost2)
			{
				Razlika = (0xffff - IC_Vrijednost1) + IC_Vrijednost2;
			}

			Udaljenost = Razlika * 0.034/2;
			Zabiljezeno = 0;

			__HAL_TIM_SET_CAPTUREPOLARITY(htim, TIM_CHANNEL_1, TIM_INPUTCHANNELPOLARITY_RISING);
			__HAL_TIM_DISABLE_IT(&htim1, TIM_IT_CC1);
		}
	}
}
void HCSR04 (void)
	{
		HAL_GPIO_WritePin(GPIOA, GPIO_PIN_9, GPIO_PIN_SET);
		HAL_Delay(10);
		HAL_GPIO_WritePin(GPIOA, GPIO_PIN_9, GPIO_PIN_RESET);

		__HAL_TIM_ENABLE_IT(&htim1, TIM_IT_CC1);
	}
/* USER CODE END 0 */

int main(void)
{

  /* MCU Configuration--------------------------------------------------------*/

  /* Reset of all peripherals, Initializes the Flash interface and the Systick. */
  HAL_Init();

  /* Configure the system clock */
  SystemClock_Config();

  /* Initialize all configured peripherals */
  MX_GPIO_Init();
  MX_TIM1_Init();
  MX_TIM2_Init();
  MX_I2C1_Init();
  MX_TIM3_Init();
  /* USER CODE BEGIN 2 */

  // TIM1

  HAL_TIM_IC_Start_IT(&htim1, TIM_CHANNEL_1);

  // MOTOR 1

  HAL_TIM_PWM_Start(&htim2, TIM_CHANNEL_1);
  HAL_TIM_PWM_Start(&htim2, TIM_CHANNEL_2);

  // MOTOR 2

  HAL_TIM_PWM_Start(&htim3, TIM_CHANNEL_1);
  HAL_TIM_PWM_Start(&htim3, TIM_CHANNEL_2);

  /* USER CODE END 2 */

  /* Infinite loop */
  /* USER CODE BEGIN WHILE */
  while (1)
  {
	  OLED_Init();
	  OLED_XY (10,20);
	  OLED_String ("Udaljenost", &Font_11x18, 1);
	  snprintf(Udaljenost_ch, sizeof(Udaljenost_ch), "%d", Udaljenost);
	  OLED_XY (10, 40);
	  OLED_String (Udaljenost_ch, &Font_11x18, 1);
	  OLED_XY (45, 40);
	  OLED_String ("cm", &Font_11x18, 1);
	  OLED_AzurirajZaslon();

	  while (HAL_GPIO_ReadPin(GPIOB, GPIO_PIN_5)){ // PIR sensor

		  HCSR04();
		  HAL_Delay(200);

		  if(Udaljenost < 15){ // HC-SR04

			  __HAL_TIM_SET_COMPARE(&htim2, TIM_CHANNEL_1, 0);
			  __HAL_TIM_SET_COMPARE(&htim2, TIM_CHANNEL_2, 70);

			  __HAL_TIM_SET_COMPARE(&htim3, TIM_CHANNEL_1, 70);
			  __HAL_TIM_SET_COMPARE(&htim3, TIM_CHANNEL_2,  0);

		  } else {

			  __HAL_TIM_SET_COMPARE(&htim2, TIM_CHANNEL_1, 0);
			  __HAL_TIM_SET_COMPARE(&htim2, TIM_CHANNEL_2, 0);

			  __HAL_TIM_SET_COMPARE(&htim3, TIM_CHANNEL_1, 0);
			  __HAL_TIM_SET_COMPARE(&htim3, TIM_CHANNEL_2, 0);
		  }
	  }

  }
    /* USER CODE END WHILE */

}

void SystemClock_Config(void)
{
  RCC_OscInitTypeDef RCC_OscInitStruct = {0};
  RCC_ClkInitTypeDef RCC_ClkInitStruct = {0};

  /** Configure the main internal regulator output voltage
  */
  __HAL_RCC_PWR_CLK_ENABLE();
  __HAL_PWR_VOLTAGESCALING_CONFIG(PWR_REGULATOR_VOLTAGE_SCALE3);

  /** Initializes the RCC Oscillators according to the specified parameters
  * in the RCC_OscInitTypeDef structure.
  */
  RCC_OscInitStruct.OscillatorType = RCC_OSCILLATORTYPE_HSI;
  RCC_OscInitStruct.HSIState = RCC_HSI_ON;
  RCC_OscInitStruct.HSICalibrationValue = RCC_HSICALIBRATION_DEFAULT;
  RCC_OscInitStruct.PLL.PLLState = RCC_PLL_NONE;
  if (HAL_RCC_OscConfig(&RCC_OscInitStruct) != HAL_OK)
  {
    Error_Handler();
  }

  /** Initializes the CPU, AHB and APB buses clocks
  */
  RCC_ClkInitStruct.ClockType = RCC_CLOCKTYPE_HCLK|RCC_CLOCKTYPE_SYSCLK
                              |RCC_CLOCKTYPE_PCLK1|RCC_CLOCKTYPE_PCLK2;
  RCC_ClkInitStruct.SYSCLKSource = RCC_SYSCLKSOURCE_HSI;
  RCC_ClkInitStruct.AHBCLKDivider = RCC_SYSCLK_DIV1;
  RCC_ClkInitStruct.APB1CLKDivider = RCC_HCLK_DIV1;
  RCC_ClkInitStruct.APB2CLKDivider = RCC_HCLK_DIV1;

  if (HAL_RCC_ClockConfig(&RCC_ClkInitStruct, FLASH_LATENCY_0) != HAL_OK)
  {
    Error_Handler();
  }
}

void Error_Handler(void)
{
  __disable_irq();
  while (1)
  {
  }
}
